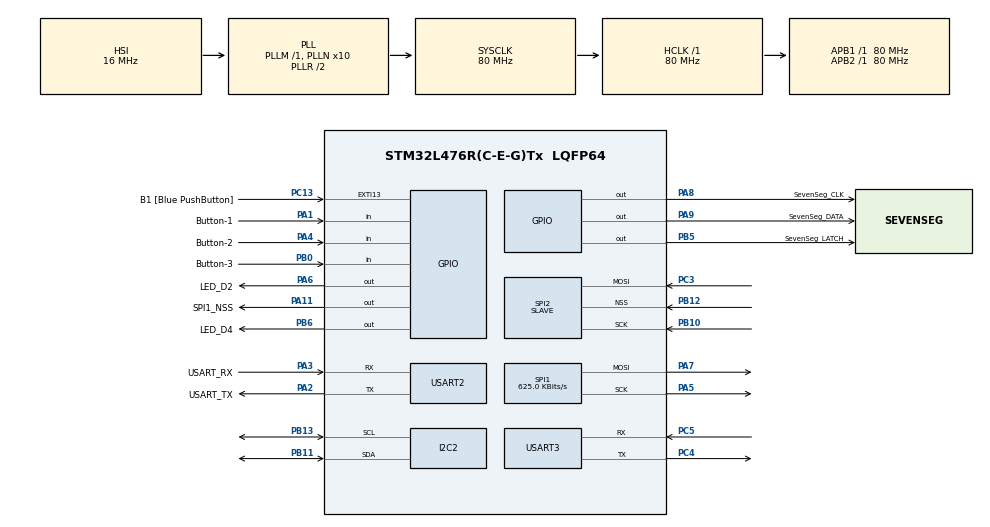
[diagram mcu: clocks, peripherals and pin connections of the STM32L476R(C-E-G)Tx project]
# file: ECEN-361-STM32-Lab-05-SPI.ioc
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I2C2.Timing=0x10909CEC
Mcu.Family=STM32L4
Mcu.Name=STM32L476R(C-E-G)Tx
Mcu.Package=LQFP64
NVIC.PriorityGroup=NVIC_PRIORITYGROUP_4
NVIC.SPI2_IRQn=true\:0\:0\:false\:false\:true\:true\:true\:true
NVIC.TIM1_TRG_COM_TIM17_IRQn=true\:0\:0\:false\:false\:true\:true\:true\:true
NVIC.TIM2_IRQn=true\:15\:0\:false\:false\:true\:false\:true\:true
NVIC.TimeBase=TIM2_IRQn
NVIC.TimeBaseIP=TIM2
PA0.GPIO_Label=Potentiometer
PA0.Signal=ADCx_IN5
PA1.GPIO_Label=Button-1
PA1.Signal=GPIO_Input
PA11.GPIO_Label=SPI1_NSS
PA11.Signal=GPIO_Output
PA13\ (JTMS-SWDIO).GPIO_Label=TMS
PA13\ (JTMS-SWDIO).Mode=Serial_Wire
PA13\ (JTMS-SWDIO).Signal=SYS_JTMS-SWDIO
PA14\ (JTCK-SWCLK).GPIO_Label=TCK
PA14\ (JTCK-SWCLK).Mode=Serial_Wire
PA14\ (JTCK-SWCLK).Signal=SYS_JTCK-SWCLK
PA2.GPIO_Label=USART_TX
PA2.GPIO_Mode=GPIO_MODE_AF_PP
PA2.GPIO_PuPd=GPIO_NOPULL
PA2.GPIO_Speed=GPIO_SPEED_FREQ_VERY_HIGH
PA2.Mode=Asynchronous
PA2.Signal=USART2_TX
PA3.GPIO_Label=USART_RX
PA3.GPIO_Mode=GPIO_MODE_AF_PP
PA3.GPIO_PuPd=GPIO_NOPULL
PA3.GPIO_Speed=GPIO_SPEED_FREQ_VERY_HIGH
PA3.Mode=Asynchronous
PA3.Signal=USART2_RX
PA4.GPIO_Label=Button-2
PA4.Signal=GPIO_Input
PA5.Mode=TX_Only_Simplex_Unidirect_Master
PA5.Signal=SPI1_SCK
PA6.GPIO_Label=LED_D2
PA6.GPIO_ModeDefaultOutputPP=GPIO_MODE_OUTPUT_OD
PA6.GPIO_PuPd=GPIO_PULLUP
PA6.Signal=GPIO_Output
PA7.Mode=TX_Only_Simplex_Unidirect_Master
PA7.Signal=SPI1_MOSI
PA8.GPIO_Label=SevenSeg_CLK
PA8.Signal=GPIO_Output
PA9.GPIO_Label=SevenSeg_DATA
PA9.Signal=GPIO_Output
PB0.GPIO_Label=Button-3
PB0.Signal=GPIO_Input
PB10.Mode=RX_Only_Simplex_Unidirect_Slave
PB10.Signal=SPI2_SCK
PB11.GPIO_Pu=GPIO_PULLUP
PB11.Mode=I2C
PB11.Signal=I2C2_SDA
PB12.Mode=NSS_Signal_Hard_Input
PB12.Signal=SPI2_NSS
PB13.GPIO_Pu=GPIO_PULLUP
PB13.Mode=I2C
PB13.Signal=I2C2_SCL
PB3\ (JTDO-TRACESWO).Signal=SYS_JTDO-SWO
PB5.GPIO_Label=SevenSeg_LATCH
PB5.Signal=GPIO_Output
PB6.GPIO_Label=LED_D4
PB6.GPIO_ModeDefaultOutputPP=GPIO_MODE_OUTPUT_OD
PB6.GPIO_PuPd=GPIO_PULLUP
PB6.PinState=GPIO_PIN_SET
PB6.Signal=GPIO_Output
PC1.GPIO_Label=LM35_IN
PC1.Signal=ADCx_IN2
PC13.GPIO_Label=B1 [Blue PushButton]
PC13.GPIO_ModeDefaultEXTI=GPIO_MODE_IT_FALLING
PC13.GPIO_PuPd=GPIO_NOPULL
PC13.Signal=GPXTI13
PC14-OSC32_IN\ (PC14).Mode=LSE-External-Oscillator
PC14-OSC32_IN\ (PC14).Signal=RCC_OSC32_IN
PC15-OSC32_OUT\ (PC15).Mode=LSE-External-Oscillator
PC15-OSC32_OUT\ (PC15).Signal=RCC_OSC32_OUT
PC3.Mode=RX_Only_Simplex_Unidirect_Slave
PC3.Signal=SPI2_MOSI
PC4.Mode=Asynchronous
PC4.Signal=USART3_TX
PC5.Mode=Asynchronous
PC5.Signal=USART3_RX
PH0-OSC_IN\ (PH0).Signal=RCC_OSC_IN
PH1-OSC_OUT\ (PH1).Signal=RCC_OSC_OUT
ProjectManager.HeapSize=0x200
ProjectManager.StackSize=0x400
ProjectManager.TargetToolchain=STM32CubeIDE
RCC.ADCFreq_Value=64000000
RCC.AHBFreq_Value=80000000
RCC.APB1Freq_Value=80000000
RCC.APB1TimFreq_Value=80000000
RCC.APB2Freq_Value=80000000
RCC.APB2TimFreq_Value=80000000
RCC.CortexFreq_Value=80000000
RCC.HCLKFreq_Value=80000000
RCC.HSE_VALUE=8000000
RCC.HSI_VALUE=16000000
RCC.MSI_VALUE=4000000
RCC.PLLN=10
RCC.PLLSourceVirtual=RCC_PLLSOURCE_HSI
RCC.PREFETCH_ENABLE=1
RCC.SYSCLKFreq_VALUE=80000000
RCC.SYSCLKSource=RCC_SYSCLKSOURCE_PLLCLK
RCC.USBFreq_Value=64000000
RCC.VCOOutputFreq_Value=160000000
SH.ADCx_IN2.0=ADC1_IN2
SH.ADCx_IN5.0=ADC2_IN5
SPI1.BaudRatePrescaler=SPI_BAUDRATEPRESCALER_128
SPI1.CalculateBaudRate=625.0 KBits/s
SPI1.DataSize=SPI_DATASIZE_8BIT
SPI1.Direction=SPI_DIRECTION_2LINES
SPI1.Mode=SPI_MODE_MASTER
SPI1.VirtualType=VM_MASTER
SPI2.DataSize=SPI_DATASIZE_8BIT
SPI2.Direction=SPI_DIRECTION_2LINES_RXONLY
SPI2.Mode=SPI_MODE_SLAVE
SPI2.VirtualNSS=VM_NSSHARD
SPI2.VirtualType=VM_SLAVE
TIM17.Period=100
TIM17.Prescaler=800-1
USART2.VirtualMode-Asynchronous=VM_ASYNC
USART3.VirtualMode-Asynchronous=VM_ASYNC
VP_SYS_VS_tim2.Mode=TIM2
VP_TIM17_VS_ClockSourceINT.Mode=Enable_Timer
board=NUCLEO-L476RG

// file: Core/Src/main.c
/* USER CODE BEGIN Header */
/**
  ******************************************************************************
  * @file           : main.c
  * @brief          : Main program body
  ******************************************************************************
  * @attention
  *
  * Copyright (c) 2023 STMicroelectronics.
  * All rights reserved.
  *
  * This software is licensed under terms that can be found in the LICENSE file
  * in the root directory of this software component.
  * If no LICENSE file comes with this software, it is provided AS-IS.
  *
  ******************************************************************************
  */
/* USER CODE END Header */
#include "main.h"

/* USER CODE BEGIN Includes */
#include "MultiFunctionShield.h"
#include <stdio.h>
#include <stdbool.h>
#include "i2c-lcd.h"

/* USER CODE END Includes */

I2C_HandleTypeDef hi2c2;

SPI_HandleTypeDef hspi1;
SPI_HandleTypeDef hspi2;

TIM_HandleTypeDef htim17;

UART_HandleTypeDef huart2;
UART_HandleTypeDef huart3;

void SystemClock_Config(void);
static void MX_GPIO_Init(void);
static void MX_USART2_UART_Init(void);
static void MX_TIM17_Init(void);
static void MX_SPI2_Init(void);
static void MX_SPI1_Init(void);
static void MX_I2C2_Init(void);
static void MX_USART3_UART_Init(void);
/* USER CODE BEGIN PFP */
/* Private function prototypes -----------------------------------------------*/
#define PUTCHAR_PROTOTYPE int __io_putchar(int ch)
void D2_Task(void *argument);
uint8_t Read_and_Transmit_Task();
void Receive_and_Print_Task();

#define SLAVE_ADDRESS  0x11
/* USER CODE END PFP */

/* USER CODE BEGIN 0 */

uint8_t RX_Buffer[BUFFER_SIZE] = {0};

/* USER CODE END 0 */

int main(void)
{

  /* USER CODE BEGIN 1 */
	uint8_t bytes_in =0;

  /* USER CODE END 1 */

  /* MCU Configuration--------------------------------------------------------*/

  /* Reset of all peripherals, Initializes the Flash interface and the Systick. */
  HAL_Init();

  /* USER CODE BEGIN Init */
  // HAL_GPIO_WritePin(Buzzer_GPIO_Port, Buzzer_Pin, 0);

  /* USER CODE END Init */

  /* Configure the system clock */
  SystemClock_Config();

  /* Initialize all configured peripherals */
  MX_GPIO_Init();
  MX_USART2_UART_Init();
  MX_TIM17_Init();
  MX_SPI2_Init();
  MX_SPI1_Init();
  MX_I2C2_Init();
  MX_USART3_UART_Init();
  /* USER CODE BEGIN 2 */

  // Initialize the LCD
  lcd_init();
  lcd_clear();
  lcd_backlight(1); // Turn on backlight
  // Write a string to the LCD

  // Start timer
  HAL_TIM_Base_Start_IT(&htim17);							// LED SevenSeg cycle thru them
  MultiFunctionShield_Clear();								// Clear the 7-seg display
  Clear_LEDs();												// Clear the lights
  HAL_GPIO_WritePin(SPI1_NSS_GPIO_Port, SPI1_NSS_Pin, 1);	// No SPI Out yet
  printf("\033\143");
  printf("Welcome to ECEN-361 Lab-05 SPI/UART & Logic Analyzer \n\r");
  // SPI1->CR1 = SPI_CR1_MSTR | SPI_CR1_SPE | SPI_CR1_SSM | SPI_CR1_SSI;

  /* USER CODE END 2 */

  /* Infinite loop */
  while (1)
	{

    /* USER CODE BEGIN 3 */
    bytes_in = Read_and_Transmit_Task();

    /**************** STEP 1:  Send it SPI-1 *********************/
	HAL_GPIO_WritePin(SPI1_NSS_GPIO_Port, SPI1_NSS_Pin, 0);
	HAL_SPI_Transmit(&hspi1, RX_Buffer, bytes_in , HAL_MAX_DELAY);
	HAL_GPIO_WritePin(SPI1_NSS_GPIO_Port, SPI1_NSS_Pin, 1);

    /**************** STEP 2:  Send it I2C-2 *********************/
//	HAL_I2C_Master_Transmit(&hi2c2, (uint16_t)SLAVE_ADDRESS, RX_Buffer, bytes_in, HAL_MAX_DELAY);
	lcd_clear();
	lcd_write_string((char*) RX_Buffer);

    /**************** STEP 3:  Send it USART-3 *********************/
	HAL_UART_Transmit(&huart3, RX_Buffer, bytes_in, HAL_MAX_DELAY);
	}

  /* USER CODE END 3 */
}

void SystemClock_Config(void)
{
  RCC_OscInitTypeDef RCC_OscInitStruct = {0};
  RCC_ClkInitTypeDef RCC_ClkInitStruct = {0};

  /** Configure the main internal regulator output voltage
  */
  if (HAL_PWREx_ControlVoltageScaling(PWR_REGULATOR_VOLTAGE_SCALE1) != HAL_OK)
  {
    Error_Handler();
  }

  /** Initializes the RCC Oscillators according to the specified parameters
  * in the RCC_OscInitTypeDef structure.
  */
  RCC_OscInitStruct.OscillatorType = RCC_OSCILLATORTYPE_HSI;
  RCC_OscInitStruct.HSIState = RCC_HSI_ON;
  RCC_OscInitStruct.HSICalibrationValue = RCC_HSICALIBRATION_DEFAULT;
  RCC_OscInitStruct.PLL.PLLState = RCC_PLL_ON;
  RCC_OscInitStruct.PLL.PLLSource = RCC_PLLSOURCE_HSI;
  RCC_OscInitStruct.PLL.PLLM = 1;
  RCC_OscInitStruct.PLL.PLLN = 10;
  RCC_OscInitStruct.PLL.PLLP = RCC_PLLP_DIV7;
  RCC_OscInitStruct.PLL.PLLQ = RCC_PLLQ_DIV2;
  RCC_OscInitStruct.PLL.PLLR = RCC_PLLR_DIV2;
  if (HAL_RCC_OscConfig(&RCC_OscInitStruct) != HAL_OK)
  {
    Error_Handler();
  }

  /** Initializes the CPU, AHB and APB buses clocks
  */
  RCC_ClkInitStruct.ClockType = RCC_CLOCKTYPE_HCLK|RCC_CLOCKTYPE_SYSCLK
                              |RCC_CLOCKTYPE_PCLK1|RCC_CLOCKTYPE_PCLK2;
  RCC_ClkInitStruct.SYSCLKSource = RCC_SYSCLKSOURCE_PLLCLK;
  RCC_ClkInitStruct.AHBCLKDivider = RCC_SYSCLK_DIV1;
  RCC_ClkInitStruct.APB1CLKDivider = RCC_HCLK_DIV1;
  RCC_ClkInitStruct.APB2CLKDivider = RCC_HCLK_DIV1;

  if (HAL_RCC_ClockConfig(&RCC_ClkInitStruct, FLASH_LATENCY_4) != HAL_OK)
  {
    Error_Handler();
  }
}

static void MX_I2C2_Init(void)
{

  hi2c2.Instance = I2C2;
  hi2c2.Init.Timing = 0x10909CEC;
  hi2c2.Init.OwnAddress1 = 0;
  hi2c2.Init.AddressingMode = I2C_ADDRESSINGMODE_7BIT;
  hi2c2.Init.DualAddressMode = I2C_DUALADDRESS_DISABLE;
  hi2c2.Init.OwnAddress2 = 0;
  hi2c2.Init.OwnAddress2Masks = I2C_OA2_NOMASK;
  hi2c2.Init.GeneralCallMode = I2C_GENERALCALL_DISABLE;
  hi2c2.Init.NoStretchMode = I2C_NOSTRETCH_DISABLE;
  if (HAL_I2C_Init(&hi2c2) != HAL_OK)
  {
    Error_Handler();
  }

  /** Configure Analogue filter
  */
  if (HAL_I2CEx_ConfigAnalogFilter(&hi2c2, I2C_ANALOGFILTER_ENABLE) != HAL_OK)
  {
    Error_Handler();
  }

  /** Configure Digital filter
  */
  if (HAL_I2CEx_ConfigDigitalFilter(&hi2c2, 0) != HAL_OK)
  {
    Error_Handler();
  }

}

static void MX_SPI1_Init(void)
{

  /* USER CODE BEGIN SPI1_Init 1 */

  /*   625KHz == SPI_BAUDRATEPRESCALER_128 ==> 80Mhz / 128
   *   40Mhz == SPI_BAUDRATEPRESCALER_2    ==> 80Mhz / 2
   */
  /* USER CODE END SPI1_Init 1 */
  /* SPI1 parameter configuration*/
  hspi1.Instance = SPI1;
  hspi1.Init.Mode = SPI_MODE_MASTER;
  hspi1.Init.Direction = SPI_DIRECTION_2LINES;
  hspi1.Init.DataSize = SPI_DATASIZE_8BIT;
  hspi1.Init.CLKPolarity = SPI_POLARITY_LOW;
  hspi1.Init.CLKPhase = SPI_PHASE_1EDGE;
  hspi1.Init.NSS = SPI_NSS_SOFT;
  hspi1.Init.BaudRatePrescaler = SPI_BAUDRATEPRESCALER_128;
  hspi1.Init.FirstBit = SPI_FIRSTBIT_MSB;
  hspi1.Init.TIMode = SPI_TIMODE_DISABLE;
  hspi1.Init.CRCCalculation = SPI_CRCCALCULATION_DISABLE;
  hspi1.Init.CRCPolynomial = 7;
  hspi1.Init.CRCLength = SPI_CRC_LENGTH_DATASIZE;
  hspi1.Init.NSSPMode = SPI_NSS_PULSE_ENABLE;
  if (HAL_SPI_Init(&hspi1) != HAL_OK)
  {
    Error_Handler();
  }

}

static void MX_SPI2_Init(void)
{

  /* SPI2 parameter configuration*/
  hspi2.Instance = SPI2;
  hspi2.Init.Mode = SPI_MODE_SLAVE;
  hspi2.Init.Direction = SPI_DIRECTION_2LINES_RXONLY;
  hspi2.Init.DataSize = SPI_DATASIZE_8BIT;
  hspi2.Init.CLKPolarity = SPI_POLARITY_LOW;
  hspi2.Init.CLKPhase = SPI_PHASE_1EDGE;
  hspi2.Init.NSS = SPI_NSS_HARD_INPUT;
  hspi2.Init.FirstBit = SPI_FIRSTBIT_MSB;
  hspi2.Init.TIMode = SPI_TIMODE_DISABLE;
  hspi2.Init.CRCCalculation = SPI_CRCCALCULATION_DISABLE;
  hspi2.Init.CRCPolynomial = 7;
  hspi2.Init.CRCLength = SPI_CRC_LENGTH_DATASIZE;
  hspi2.Init.NSSPMode = SPI_NSS_PULSE_DISABLE;
  if (HAL_SPI_Init(&hspi2) != HAL_OK)
  {
    Error_Handler();
  }

}

static void MX_TIM17_Init(void)
{

  htim17.Instance = TIM17;
  htim17.Init.Prescaler = 800-1;
  htim17.Init.CounterMode = TIM_COUNTERMODE_UP;
  htim17.Init.Period = 100;
  htim17.Init.ClockDivision = TIM_CLOCKDIVISION_DIV1;
  htim17.Init.RepetitionCounter = 0;
  htim17.Init.AutoReloadPreload = TIM_AUTORELOAD_PRELOAD_DISABLE;
  if (HAL_TIM_Base_Init(&htim17) != HAL_OK)
  {
    Error_Handler();
  }

}

static void MX_USART2_UART_Init(void)
{

  huart2.Instance = USART2;
  huart2.Init.BaudRate = 115200;
  huart2.Init.WordLength = UART_WORDLENGTH_8B;
  huart2.Init.StopBits = UART_STOPBITS_1;
  huart2.Init.Parity = UART_PARITY_NONE;
  huart2.Init.Mode = UART_MODE_TX_RX;
  huart2.Init.HwFlowCtl = UART_HWCONTROL_NONE;
  huart2.Init.OverSampling = UART_OVERSAMPLING_16;
  huart2.Init.OneBitSampling = UART_ONE_BIT_SAMPLE_DISABLE;
  huart2.AdvancedInit.AdvFeatureInit = UART_ADVFEATURE_NO_INIT;
  if (HAL_UART_Init(&huart2) != HAL_OK)
  {
    Error_Handler();
  }

}

static void MX_USART3_UART_Init(void)
{

  huart3.Instance = USART3;
  huart3.Init.BaudRate = 115200;
  huart3.Init.WordLength = UART_WORDLENGTH_8B;
  huart3.Init.StopBits = UART_STOPBITS_1;
  huart3.Init.Parity = UART_PARITY_NONE;
  huart3.Init.Mode = UART_MODE_TX_RX;
  huart3.Init.HwFlowCtl = UART_HWCONTROL_NONE;
  huart3.Init.OverSampling = UART_OVERSAMPLING_16;
  huart3.Init.OneBitSampling = UART_ONE_BIT_SAMPLE_DISABLE;
  huart3.AdvancedInit.AdvFeatureInit = UART_ADVFEATURE_NO_INIT;
  if (HAL_UART_Init(&huart3) != HAL_OK)
  {
    Error_Handler();
  }

}

static void MX_GPIO_Init(void)
{
  GPIO_InitTypeDef GPIO_InitStruct = {0};

  /* GPIO Ports Clock Enable */
  __HAL_RCC_GPIOC_CLK_ENABLE();
  __HAL_RCC_GPIOH_CLK_ENABLE();
  __HAL_RCC_GPIOA_CLK_ENABLE();
  __HAL_RCC_GPIOB_CLK_ENABLE();

  /*Configure GPIO pin Output Level */
  HAL_GPIO_WritePin(GPIOA, LED_D2_Pin|SevenSeg_CLK_Pin|SevenSeg_DATA_Pin|SPI1_NSS_Pin, GPIO_PIN_RESET);

  /*Configure GPIO pin Output Level */
  HAL_GPIO_WritePin(SevenSeg_LATCH_GPIO_Port, SevenSeg_LATCH_Pin, GPIO_PIN_RESET);

  /*Configure GPIO pin Output Level */
  HAL_GPIO_WritePin(LED_D4_GPIO_Port, LED_D4_Pin, GPIO_PIN_SET);

  /*Configure GPIO pin : B1_Pin */
  GPIO_InitStruct.Pin = B1_Pin;
  GPIO_InitStruct.Mode = GPIO_MODE_IT_FALLING;
  GPIO_InitStruct.Pull = GPIO_NOPULL;
  HAL_GPIO_Init(B1_GPIO_Port, &GPIO_InitStruct);

  /*Configure GPIO pin : LM35_IN_Pin */
  GPIO_InitStruct.Pin = LM35_IN_Pin;
  GPIO_InitStruct.Mode = GPIO_MODE_ANALOG_ADC_CONTROL;
  GPIO_InitStruct.Pull = GPIO_NOPULL;
  HAL_GPIO_Init(LM35_IN_GPIO_Port, &GPIO_InitStruct);

  /*Configure GPIO pin : Potentiometer_Pin */
  GPIO_InitStruct.Pin = Potentiometer_Pin;
  GPIO_InitStruct.Mode = GPIO_MODE_ANALOG_ADC_CONTROL;
  GPIO_InitStruct.Pull = GPIO_NOPULL;
  HAL_GPIO_Init(Potentiometer_GPIO_Port, &GPIO_InitStruct);

  /*Configure GPIO pins : Button_1_Pin Button_2_Pin */
  GPIO_InitStruct.Pin = Button_1_Pin|Button_2_Pin;
  GPIO_InitStruct.Mode = GPIO_MODE_INPUT;
  GPIO_InitStruct.Pull = GPIO_NOPULL;
  HAL_GPIO_Init(GPIOA, &GPIO_InitStruct);

  /*Configure GPIO pin : LED_D2_Pin */
  GPIO_InitStruct.Pin = LED_D2_Pin;
  GPIO_InitStruct.Mode = GPIO_MODE_OUTPUT_OD;
  GPIO_InitStruct.Pull = GPIO_PULLUP;
  GPIO_InitStruct.Speed = GPIO_SPEED_FREQ_LOW;
  HAL_GPIO_Init(LED_D2_GPIO_Port, &GPIO_InitStruct);

  /*Configure GPIO pin : Button_3_Pin */
  GPIO_InitStruct.Pin = Button_3_Pin;
  GPIO_InitStruct.Mode = GPIO_MODE_INPUT;
  GPIO_InitStruct.Pull = GPIO_NOPULL;
  HAL_GPIO_Init(Button_3_GPIO_Port, &GPIO_InitStruct);

  /*Configure GPIO pins : SevenSeg_CLK_Pin SevenSeg_DATA_Pin SPI1_NSS_Pin */
  GPIO_InitStruct.Pin = SevenSeg_CLK_Pin|SevenSeg_DATA_Pin|SPI1_NSS_Pin;
  GPIO_InitStruct.Mode = GPIO_MODE_OUTPUT_PP;
  GPIO_InitStruct.Pull = GPIO_NOPULL;
  GPIO_InitStruct.Speed = GPIO_SPEED_FREQ_LOW;
  HAL_GPIO_Init(GPIOA, &GPIO_InitStruct);

  /*Configure GPIO pin : SevenSeg_LATCH_Pin */
  GPIO_InitStruct.Pin = SevenSeg_LATCH_Pin;
  GPIO_InitStruct.Mode = GPIO_MODE_OUTPUT_PP;
  GPIO_InitStruct.Pull = GPIO_NOPULL;
  GPIO_InitStruct.Speed = GPIO_SPEED_FREQ_LOW;
  HAL_GPIO_Init(SevenSeg_LATCH_GPIO_Port, &GPIO_InitStruct);

  /*Configure GPIO pin : LED_D4_Pin */
  GPIO_InitStruct.Pin = LED_D4_Pin;
  GPIO_InitStruct.Mode = GPIO_MODE_OUTPUT_OD;
  GPIO_InitStruct.Pull = GPIO_PULLUP;
  GPIO_InitStruct.Speed = GPIO_SPEED_FREQ_LOW;
  HAL_GPIO_Init(LED_D4_GPIO_Port, &GPIO_InitStruct);

}

/* USER CODE BEGIN 4 */

/************  Task-Creation-Part-B *****************/
void D2_Task(void *argument)
	{ while(true)
		{ HAL_GPIO_TogglePin(LED_D2_GPIO_Port,LED_D2_Pin);
		  HAL_Delay(1000);
		}
	}

uint8_t Read_and_Transmit_Task()
	{
	/* Return the number of bytes */
	uint8_t receive_byte;
	// uint8_t receive_buffer[BUFFER_SIZE] = {0};
	// uint8_t *receive_buffer_ptr = receive_buffer;
	uint8_t bytes_in =0;
	uint8_t xmitmsg[] = "\n\rInput Line to Send ->";
	uint8_t sndmsg[] = "\n\rSending -> ";
	uint8_t *xmitmsg_ptr = xmitmsg;
	uint8_t *sndmsg_ptr = sndmsg;

		bytes_in = 0;
		receive_byte = 0;
		HAL_UART_Transmit(&huart2, xmitmsg_ptr, 23, HAL_MAX_DELAY);

		/* This task reads a line from the Serial/USB port and
		 * transmits out thru SPI
		 * Note that this is polling!  One byte at a time.  Very inefficient
		 */
		while (receive_byte != '\r')
		{
			while (HAL_UART_Receive(&huart2, &receive_byte, 1, 10) != HAL_OK) HAL_Delay(1);
			/* Now we have a byte, if it's a carriage return, send the string
			 * If not, put it on the buffer
			 */
			RX_Buffer[bytes_in++] = receive_byte;
		}
			HAL_UART_Transmit(&huart2, (const uint8_t*) &RX_Buffer , bytes_in - 1, HAL_MAX_DELAY);  //echo entire message once completed

		RX_Buffer[bytes_in++] = '\n'; // Add a line_feed
		RX_Buffer[bytes_in] = 0; // finish with null terminator character
		// Tell the User what we got and what we're sending
		HAL_UART_Transmit(&huart2, sndmsg_ptr, 13, HAL_MAX_DELAY);
		//HAL_UART_Transmit(&huart2, receive_buffer_ptr, bytes_in, HAL_MAX_DELAY);
		HAL_UART_Transmit(&huart2, RX_Buffer, bytes_in, HAL_MAX_DELAY);
		// Now send it from the SPI Master (SPI_1) -> SPI Slave (SPI_2)
		// Turn on the ChipEnable (SPI1_NSS -- active low)
		return bytes_in;
		}

/**
  * @brief  Retargets the C library printf function to the USART.
  * @param  None
  * @retval None
  */
PUTCHAR_PROTOTYPE
{
  /* Place your implementation of fputc here */
  /* e.g. write a character to the USART1 and Loop until the end of transmission */
  HAL_UART_Transmit(&huart2, (uint8_t *)&ch, 1, 0xFFFF);

  return ch;
}

void HAL_GPIO_EXTI_Callback(uint16_t GPIO_Pin)
	{
	// All three buttons generate GPIO  interrupts
	switch(GPIO_Pin)
	{
	case Button_1_Pin:
		break;
	case Button_2_Pin:
		break;
	case Button_3_Pin:
		break;
	default:
      __NOP();
	}
}

/* USER CODE END 4 */

void HAL_TIM_PeriodElapsedCallback(TIM_HandleTypeDef *htim)
{
  /* USER CODE BEGIN Callback 0 */

	  if (htim == &htim17 ) { MultiFunctionShield__ISRFunc(); }

  /* USER CODE END Callback 0 */
  if (htim->Instance == TIM2) {
    HAL_IncTick();
  }
  /* USER CODE BEGIN Callback 1 */
	}

  void HAL_SPI_RxCpltCallback(SPI_HandleTypeDef * hspi)
  {
      // printf("here at the spi receive\n\r");
	  if (hspi == &hspi2)
	  {
      // HAL_SPI_Receive_IT(&hspi2, RX_Buffer, BUFFER_SIZE);
      HAL_UART_Transmit(&huart2, RX_Buffer, BUFFER_SIZE,1000);
	  MX_SPI2_Init();  // Buffer has the data so start over
	  }

  /* USER CODE END Callback 1 */
}

void Error_Handler(void)
{
  __disable_irq();
  while (1)
  {
  }
}
